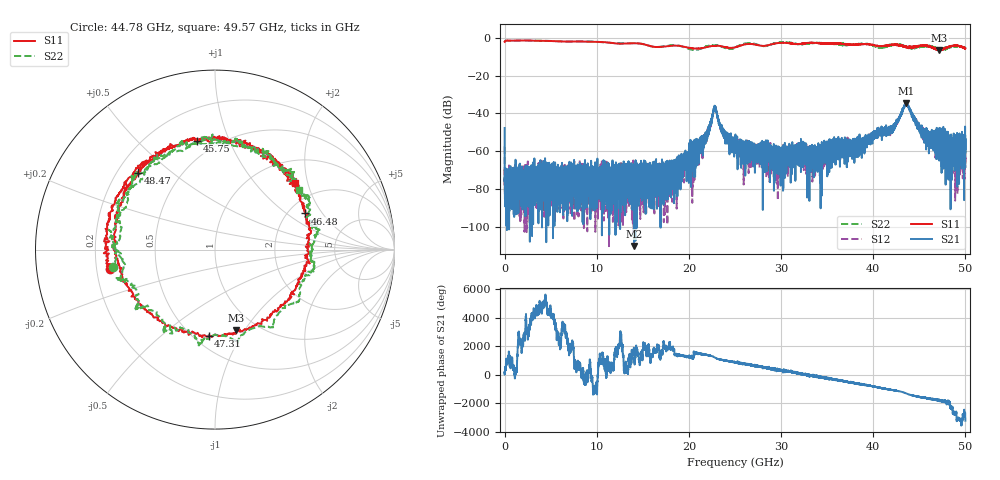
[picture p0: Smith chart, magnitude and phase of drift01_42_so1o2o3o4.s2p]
!Created with skrf (http://scikit-rf.org).
# Hz S RI R 50.0
!freq ReS11 ImS11 ReS21 ImS21 ReS12 ImS12 ReS22 ImS22
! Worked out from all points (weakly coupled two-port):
!   10001 points, 300 kHz to 50 GHz, reference 50 ohm
!   highest |S21| = -34.65 dB at 43.56 GHz (marker M1); lowest = -110.1 dB at 14.04 GHz (marker M2)
!   lowest |S11| = -6.7 dB at 47.18 GHz (marker M3), VSWR 2.74, Z = 40.1 - j46 ohm
!   |S11| at or under -10 dB: nowhere
!   |S22| runs from -6.5 to -1.4 dB; largest |S21 - S12| = 0.0055
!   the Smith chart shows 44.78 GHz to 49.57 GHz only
!   S11 on the Smith chart (normalised r, x): 44.78 GHz: 0.26, -0.08; 45.75 GHz: 0.39, +0.77; 46.48 GHz: 2.45, +1.40; 47.31 GHz: 0.59, -0.74; 48.47 GHz: 0.29, +0.38; 49.57 GHz: 1.49, +1.65
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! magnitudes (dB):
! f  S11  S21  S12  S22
! 300 kHz  -2.1  -47.7  -57.5  -2.2
! 255.3 MHz  -1.4  -75.1  -81.9  -1.4
! 620.3 MHz  -1.5  -74.3  -73.1  -1.5
! 8.335 GHz  -1.9  -79.0  -91.4  -1.8
! 14.04 GHz  -2.9  -110.1  -68.8  -2.7
! 16.67 GHz  -4.8  -74.3  -72.7  -4.8
! 20.85 GHz  -5.7  -59.9  -60.6  -6.2
! 22.8 GHz  -4.3  -36.1  -36.1  -4.0
! 23.7 GHz  -4.6  -51.8  -48.9  -4.9
! 25 GHz  -5.0  -57.9  -55.9  -5.1
! 29.84 GHz  -2.6  -60.3  -63.2  -2.4
! 33.34 GHz  -2.6  -67.9  -60.4  -2.6
! 41.67 GHz  -3.9  -47.0  -49.6  -4.2
! 43.56 GHz  -4.9  -34.7  -35.3  -4.8
! 44.78 GHz  -4.5  -46.8  -45.8  -4.8
! 45.75 GHz  -4.2  -53.1  -51.0  -4.2
! 46.48 GHz  -5.3  -50.6  -53.4  -5.0
! 47.18 GHz  -6.7  -58.4  -51.4  -6.2
! 47.31 GHz  -6.3  -54.7  -51.8  -6.3
! 48.47 GHz  -4.4  -54.0  -57.6  -5.0
! 49.57 GHz  -4.8  -55.4  -56.7  -4.9
! 50 GHz  -5.6  -60.6  -66.4  -5.3
